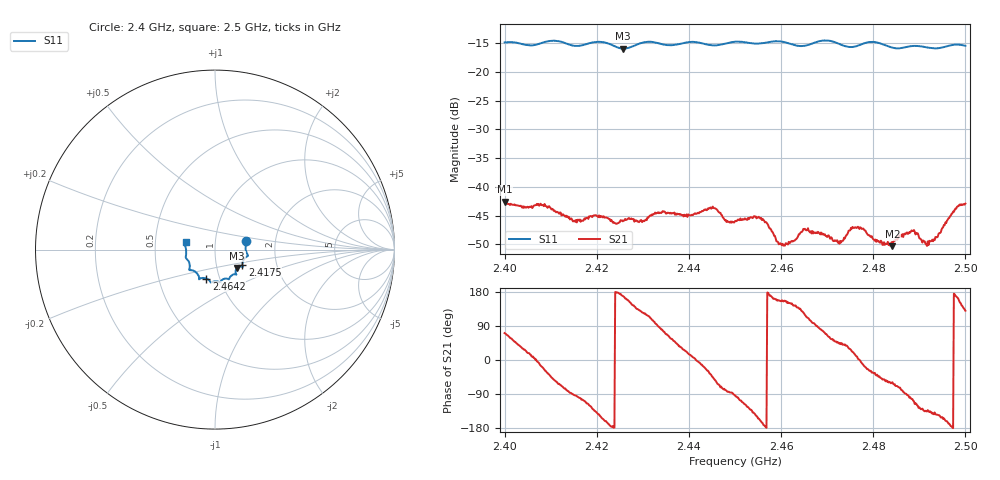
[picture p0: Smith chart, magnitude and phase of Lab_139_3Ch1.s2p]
# Hz S RI R 50
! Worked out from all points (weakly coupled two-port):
!   601 points, 2.4 GHz to 2.5 GHz, reference 50 ohm
!   highest |S21| = -42.56 dB at 2.4 GHz (marker M1); lowest = -50.3 dB at 2.4842 GHz (marker M2)
!   lowest |S11| = -15.9 dB at 2.4257 GHz (marker M3), VSWR 1.38, Z = 62.5 - j13.1 ohm
!   |S11| at or under -10 dB: start of sweep to end of sweep
!   S12 and S22 are empty: the file has one direction only
!   S11 on the Smith chart (normalised r, x): 2.4 GHz: 1.41, +0.14; 2.4175 GHz: 1.34, -0.23; 2.4642 GHz: 0.86, -0.29; 2.5 GHz: 0.72, +0.06
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2.4e9  0.1737 0.0494  0.00243 0.00704  0 0  0 0
2.408333e9  0.1793 -0.0235  0.00653 -0.00245  0 0  0 0
2.416667e9  0.1531 -0.0743  -0.0013 -0.00494  0 0  0 0
2.4175e9  0.1521 -0.0839  -0.00176 -0.00492  0 0  0 0
2.425667e9  0.123 -0.1021  -0.00492 0.00098  0 0  0 0
2.430333e9  0.1182 -0.1378  -0.00269 0.00426  0 0  0 0
2.433333e9  0.1134 -0.1371  0.000136 0.00601  0 0  0 0
2.440167e9  0.0787 -0.1646  0.0055 0.00137  0 0  0 0
2.445167e9  0.0542 -0.1619  0.00475 -0.00478  0 0  0 0
2.45e9  0.0288 -0.1812  -0.000286 -0.00503  0 0  0 0
2.455667e9  -0.00393 -0.1774  -0.00514 -0.00157  0 0  0 0
2.460333e9  -0.0253 -0.1817  -0.00293 0.00127  0 0  0 0
2.464167e9  -0.0479 -0.1613  -0.00283 0.00279  0 0  0 0
2.466667e9  -0.0762 -0.159  -0.000667 0.00387  0 0  0 0
2.472833e9  -0.0906 -0.1487  0.0024 0.0024  0 0  0 0
2.476833e9  -0.1249 -0.1157  0.00444 0.000143  0 0  0 0
2.483333e9  -0.1406 -0.0895  0.0016 -0.00268  0 0  0 0
2.484167e9  -0.1417 -0.0801  0.00158 -0.00261  0 0  0 0
2.4885e9  -0.1616 -0.0471  -0.000942 -0.00402  0 0  0 0
2.492e9  -0.1607 -0.0254  -0.00221 -0.00219  0 0  0 0
2.498167e9  -0.17 0.0335  -0.00648 0.00168  0 0  0 0
2.5e9  -0.1636 0.0427  -0.00461 0.00548  0 0  0 0
